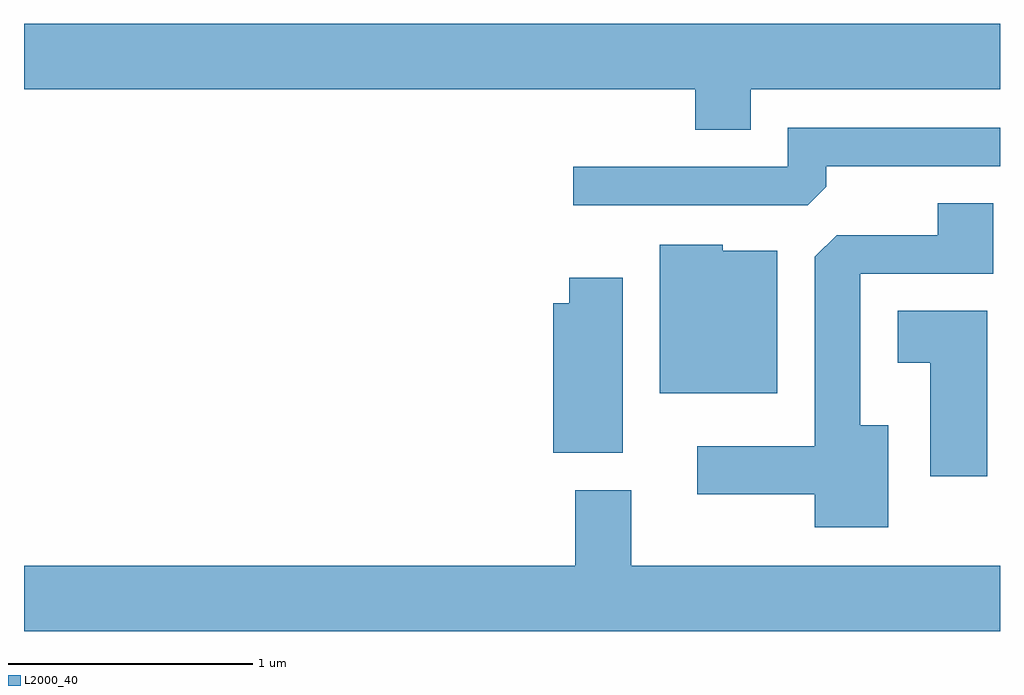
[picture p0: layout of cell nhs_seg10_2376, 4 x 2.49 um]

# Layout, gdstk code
import gdstk
lib = gdstk.Library(unit=1e-6, precision=1e-09)
def P(c, l, *ps):  # polygons
    for p in ps: c.add(gdstk.Polygon(p, *l))
L2000_40 = (2000, 40)

nhs_seg10_2376 = lib.new_cell('nhs_seg10_2376')
P(nhs_seg10_2376, L2000_40, [(258.589,2089.496),(259.611,2089.496),(259.611,2089.764),(255.611,2089.764),(255.611,2089.496),(258.361,2089.496),(258.361,2089.331),(258.589,2089.331)],
  [(258.899,2089.097),(258.899,2089.181),(259.611,2089.181),(259.611,2089.339),(258.741,2089.339),(258.741,2089.179),(257.863,2089.179),(257.863,2089.021),(258.824,2089.021)],
  [(259.154,2088.119),(259.039,2088.119),(259.039,2088.741),(259.584,2088.741),(259.584,2089.029),(259.356,2089.029),(259.356,2088.899),(258.942,2088.899),(258.851,2088.809),(258.851,2088.034),(258.371,2088.034),(258.371,2087.836),(258.851,2087.836),(258.851,2087.701),(259.154,2087.701)],
  [(258.699,2088.834),(258.474,2088.834),(258.474,2088.859),(258.216,2088.859),(258.216,2088.251),(258.699,2088.251)],
  [(258.064,2088.724),(257.846,2088.724),(257.846,2088.619),(257.781,2088.619),(257.781,2088.006),(258.064,2088.006)],
  [(259.559,2088.589),(259.191,2088.589),(259.191,2088.376),(259.326,2088.376),(259.326,2087.911),(259.559,2087.911)],
  [(259.611,2087.544),(258.099,2087.544),(258.099,2087.854),(257.871,2087.854),(257.871,2087.544),(255.611,2087.544),(255.611,2087.276),(259.611,2087.276)])

lib.write_gds('nhs_seg10_2376.gds')
